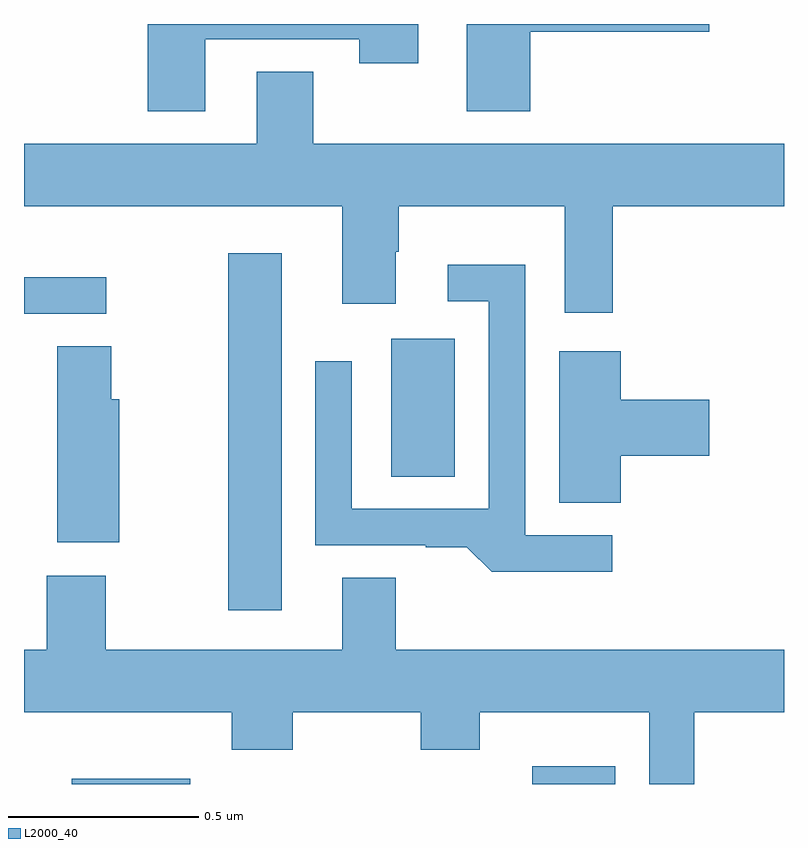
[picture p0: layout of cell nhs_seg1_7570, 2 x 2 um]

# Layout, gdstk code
import gdstk
lib = gdstk.Library(unit=1e-6, precision=1e-09)
def R(c, l, rs):  # rectangles x0, y0, x1, y1
    for r in rs: c.add(gdstk.rectangle(r[:2], r[2:], *l))
def P(c, l, *ps):  # polygons
    for p in ps: c.add(gdstk.Polygon(p, *l))
L2000_40 = (2000, 40)

nhs_seg1_7570 = lib.new_cell('nhs_seg1_7570')
R(nhs_seg1_7570, L2000_40, [(205.125,562.199,205.438,562.213), (206.337,562.199,206.556,562.246), (205.537,562.656,205.678,563.596), (205.967,563.008,206.134,563.371), (205,563.436,205.216,563.532)])
P(nhs_seg1_7570, L2000_40, [(206.332,564.178),(206.803,564.178),(206.803,564.199),(206.165,564.199),(206.165,563.97),(206.332,563.97)],
  [(205.477,564.159),(205.882,564.159),(205.882,564.096),(206.038,564.096),(206.038,564.199),(205.325,564.199),(205.325,563.97),(205.477,563.97)],
  [(206.549,563.72),(207,563.72),(207,563.884),(205.761,563.884),(205.761,564.074),(205.613,564.074),(205.613,563.884),(205,563.884),(205,563.72),(205.838,563.72),(205.838,563.463),(205.978,563.463),(205.978,563.6),(205.986,563.6),(205.986,563.72),(206.423,563.72),(206.423,563.439),(206.549,563.439)],
  [(206.548,562.854),(206.319,562.854),(206.319,563.566),(206.115,563.566),(206.115,563.469),(206.223,563.469),(206.223,562.923),(205.863,562.923),(205.863,563.311),(205.767,563.311),(205.767,562.827),(206.057,562.827),(206.057,562.822),(206.165,562.822),(206.231,562.757),(206.548,562.757)],
  [(205.251,563.211),(205.23,563.211),(205.23,563.351),(205.088,563.351),(205.088,562.835),(205.251,562.835)],
  [(206.57,563.063),(206.803,563.063),(206.803,563.21),(206.57,563.21),(206.57,563.338),(206.408,563.338),(206.408,562.939),(206.57,562.939)],
  [(206.764,562.388),(207,562.388),(207,562.552),(205.978,562.552),(205.978,562.742),(205.838,562.742),(205.838,562.552),(205.215,562.552),(205.215,562.747),(205.06,562.747),(205.06,562.552),(205,562.552),(205,562.388),(205.547,562.388),(205.547,562.289),(205.707,562.289),(205.707,562.388),(206.044,562.388),(206.044,562.289),(206.199,562.289),(206.199,562.388),(206.645,562.388),(206.645,562.199),(206.764,562.199)])

lib.write_gds('nhs_seg1_7570.gds')
